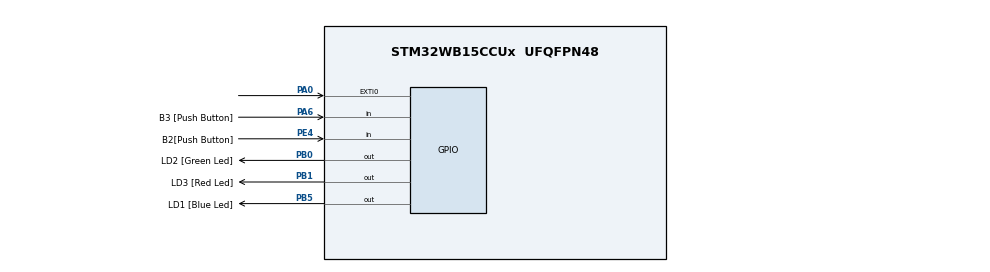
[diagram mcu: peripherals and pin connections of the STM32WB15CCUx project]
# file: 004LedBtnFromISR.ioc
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Mcu.Family=STM32WB
Mcu.Name=STM32WB15CCUx
Mcu.Package=UFQFPN48
NVIC.EXTI0_IRQn=true\:6\:0\:true\:false\:true\:true\:true\:true
NVIC.PriorityGroup=NVIC_PRIORITYGROUP_4
NVIC.TIM1_UP_IRQn=true\:15\:0\:false\:false\:true\:false\:true\:true
NVIC.TimeBase=TIM1_UP_IRQn
NVIC.TimeBaseIP=TIM1
OSC_IN.Mode=HSE-External-Oscillator
OSC_IN.Signal=RCC_OSC_IN
OSC_OUT.Mode=HSE-External-Oscillator
OSC_OUT.Signal=RCC_OSC_OUT
PA0.GPIO_ModeDefaultEXTI=GPIO_MODE_IT_FALLING
PA0.GPIO_PuPd=GPIO_PULLUP
PA0.Signal=GPXTI0
PA10.GPIO_Label=STLINK_TX
PA10.Signal=USART1_RX
PA13.GPIO_Label=JTMS
PA13.Signal=SYS_JTMS-SWDIO
PA14.GPIO_Label=JTCK
PA14.Signal=SYS_JTCK-SWCLK
PA6.GPIO_Label=B3 [Push Button]
PA6.Signal=GPIO_Input
PA9.GPIO_Label=STLINK_RX
PA9.Signal=USART1_TX
PB0.GPIO_Label=LD2 [Green Led]
PB0.Signal=GPIO_Output
PB1.GPIO_Label=LD3 [Red Led]
PB1.Signal=GPIO_Output
PB3.GPIO_Label=JTDO
PB3.Signal=SYS_JTDO-SWO
PB5.GPIO_Label=LD1 [Blue Led]
PB5.Signal=GPIO_Output
PC14-OSC32_IN.Mode=LSE-External-Oscillator
PC14-OSC32_IN.Signal=RCC_OSC32_IN
PC15-OSC32_OUT.Mode=LSE-External-Oscillator
PC15-OSC32_OUT.Signal=RCC_OSC32_OUT
PE4.GPIO_Label=B2[Push Button]
PE4.GPIO_PuPd=GPIO_PULLUP
PE4.Signal=GPIO_Input
ProjectManager.HeapSize=0x200
ProjectManager.StackSize=0x400
ProjectManager.TargetToolchain=STM32CubeIDE
RCC.APB3Freq_Value=16000000
RCC.HSE_VALUE=32000000
RCC.HSI_VALUE=16000000
RCC.LSE_Drive_Capability=RCC_LSEDRIVE_LOW
RCC.VCOOutputFreq_Value=32000000
VP_SYS_VS_tim1.Mode=TIM1
board=NUCLEO-WB15CC

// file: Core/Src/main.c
/* USER CODE BEGIN Header */
/**
  ******************************************************************************
  * @file           : main.c
  * @brief          : Main program body
  ******************************************************************************
  * @attention
  *
  * Copyright (c) 2023 STMicroelectronics.
  * All rights reserved.
  *
  * This software is licensed under terms that can be found in the LICENSE file
  * in the root directory of this software component.
  * If no LICENSE file comes with this software, it is provided AS-IS.
  *
  ******************************************************************************
  */
/* USER CODE END Header */
#include "main.h"

/* USER CODE BEGIN Includes */
#include "FreeRTOS.h"
#include "task.h"
#include <stdio.h>

/* USER CODE END Includes */

/* USER CODE BEGIN PD */
#define DWT_CTRL (*(volatile uint32_t*)0xE0001000)
/* USER CODE END PD */

/* USER CODE BEGIN PV */

	TaskHandle_t gLedHandle;
	TaskHandle_t bLedHandle;
	TaskHandle_t rLedHandle;

	TaskHandle_t volatile nextTaskHandle = NULL;
/* USER CODE END PV */

void SystemClock_Config(void);
void PeriphCommonClock_Config(void);
static void MX_GPIO_Init(void);
/* USER CODE BEGIN PFP */

static void GreenLedHandler(void* param);
static void BlueLedHandler(void* param);
static void RedLedHandler(void* param);
/* USER CODE END PFP */

int main(void)
{

  /* MCU Configuration--------------------------------------------------------*/

  /* Reset of all peripherals, Initializes the Flash interface and the Systick. */
  HAL_Init();

  /* Configure the system clock */
  SystemClock_Config();

/* Configure the peripherals common clocks */
  PeriphCommonClock_Config();

  /* Initialize all configured peripherals */
  MX_GPIO_Init();
  /* USER CODE BEGIN 2 */

  // Enable the CYCCNT counter for Arm Cortex M3/M4 processor register

  DWT_CTRL |= (1 << 0);

  // Call Segger APIs to start tracing
 // SEGGER_SYSVIEW_Conf();
 // SEGGER_SYSVIEW_Start();

  BaseType_t status;

  status = xTaskCreate(GreenLedHandler,
		  "Green Led Handler",
		  200,
		  NULL,
		  1,
		  &gLedHandle);

  configASSERT(status == pdPASS);

  status = xTaskCreate(BlueLedHandler,
		  "Blue Led Handler",
		  200,
		  NULL,
		  2,
		  &bLedHandle);

  configASSERT(status == pdPASS);

  nextTaskHandle = bLedHandle;

  status = xTaskCreate(RedLedHandler,
		  "Red Led Handler",
		  200,
		  NULL,
		  3,
		  &rLedHandle);

  configASSERT(status == pdPASS);

  // Start the freeRTOS scheduler
  vTaskStartScheduler();

  // If the control comes here then the launch of the scheduler has failed
  // Due to insufficient memory on the heap.
  // -- END --
  /* USER CODE END 2 */

  /* Infinite loop */
  while (1)
  {

  }
}

void SystemClock_Config(void)
{
  RCC_OscInitTypeDef RCC_OscInitStruct = {0};
  RCC_ClkInitTypeDef RCC_ClkInitStruct = {0};

  /** Configure LSE Drive Capability
  */
  HAL_PWR_EnableBkUpAccess();
  __HAL_RCC_LSEDRIVE_CONFIG(RCC_LSEDRIVE_LOW);

  /** Initializes the RCC Oscillators according to the specified parameters
  * in the RCC_OscInitTypeDef structure.
  */
  RCC_OscInitStruct.OscillatorType = RCC_OSCILLATORTYPE_HSI|RCC_OSCILLATORTYPE_HSE
                              |RCC_OSCILLATORTYPE_LSE|RCC_OSCILLATORTYPE_MSI;
  RCC_OscInitStruct.HSEState = RCC_HSE_ON;
  RCC_OscInitStruct.LSEState = RCC_LSE_ON;
  RCC_OscInitStruct.HSIState = RCC_HSI_ON;
  RCC_OscInitStruct.MSIState = RCC_MSI_ON;
  RCC_OscInitStruct.HSICalibrationValue = RCC_HSICALIBRATION_DEFAULT;
  RCC_OscInitStruct.MSICalibrationValue = RCC_MSICALIBRATION_DEFAULT;
  RCC_OscInitStruct.MSIClockRange = RCC_MSIRANGE_6;
  RCC_OscInitStruct.PLL.PLLState = RCC_PLL_NONE;
  if (HAL_RCC_OscConfig(&RCC_OscInitStruct) != HAL_OK)
  {
    Error_Handler();
  }

  /** Configure the SYSCLKSource, HCLK, PCLK1 and PCLK2 clocks dividers
  */
  RCC_ClkInitStruct.ClockType = RCC_CLOCKTYPE_HCLK4|RCC_CLOCKTYPE_HCLK2
                              |RCC_CLOCKTYPE_HCLK|RCC_CLOCKTYPE_SYSCLK
                              |RCC_CLOCKTYPE_PCLK1|RCC_CLOCKTYPE_PCLK2;
  RCC_ClkInitStruct.SYSCLKSource = RCC_SYSCLKSOURCE_MSI;
  RCC_ClkInitStruct.AHBCLKDivider = RCC_SYSCLK_DIV1;
  RCC_ClkInitStruct.APB1CLKDivider = RCC_HCLK_DIV1;
  RCC_ClkInitStruct.APB2CLKDivider = RCC_HCLK_DIV1;
  RCC_ClkInitStruct.AHBCLK2Divider = RCC_SYSCLK_DIV1;
  RCC_ClkInitStruct.AHBCLK4Divider = RCC_SYSCLK_DIV1;

  if (HAL_RCC_ClockConfig(&RCC_ClkInitStruct, FLASH_LATENCY_0) != HAL_OK)
  {
    Error_Handler();
  }

  /** Enable MSI Auto calibration
  */
  HAL_RCCEx_EnableMSIPLLMode();
}

void PeriphCommonClock_Config(void)
{
  RCC_PeriphCLKInitTypeDef PeriphClkInitStruct = {0};

  /** Initializes the peripherals clock
  */
  PeriphClkInitStruct.PeriphClockSelection = RCC_PERIPHCLK_SMPS;
  PeriphClkInitStruct.SmpsClockSelection = RCC_SMPSCLKSOURCE_HSI;
  PeriphClkInitStruct.SmpsDivSelection = RCC_SMPSCLKDIV_RANGE1;

  if (HAL_RCCEx_PeriphCLKConfig(&PeriphClkInitStruct) != HAL_OK)
  {
    Error_Handler();
  }
}

static void MX_GPIO_Init(void)
{
  GPIO_InitTypeDef GPIO_InitStruct = {0};

  /* GPIO Ports Clock Enable */
  __HAL_RCC_GPIOC_CLK_ENABLE();
  __HAL_RCC_GPIOA_CLK_ENABLE();
  __HAL_RCC_GPIOB_CLK_ENABLE();
  __HAL_RCC_GPIOE_CLK_ENABLE();

  /*Configure GPIO pin Output Level */
  HAL_GPIO_WritePin(GPIOB, LD2_Pin|LD3_Pin|LD1_Pin, GPIO_PIN_RESET);

  /*Configure GPIO pin : PA0 */
  GPIO_InitStruct.Pin = GPIO_PIN_0;
  GPIO_InitStruct.Mode = GPIO_MODE_IT_FALLING;
  GPIO_InitStruct.Pull = GPIO_PULLUP;
  HAL_GPIO_Init(GPIOA, &GPIO_InitStruct);

  /*Configure GPIO pin : B3_Pin */
  GPIO_InitStruct.Pin = B3_Pin;
  GPIO_InitStruct.Mode = GPIO_MODE_INPUT;
  GPIO_InitStruct.Pull = GPIO_NOPULL;
  HAL_GPIO_Init(B3_GPIO_Port, &GPIO_InitStruct);

  /*Configure GPIO pins : STLINK_RX_Pin STLINK_TX_Pin */
  GPIO_InitStruct.Pin = STLINK_RX_Pin|STLINK_TX_Pin;
  GPIO_InitStruct.Mode = GPIO_MODE_AF_PP;
  GPIO_InitStruct.Pull = GPIO_NOPULL;
  GPIO_InitStruct.Speed = GPIO_SPEED_FREQ_LOW;
  GPIO_InitStruct.Alternate = GPIO_AF7_USART1;
  HAL_GPIO_Init(GPIOA, &GPIO_InitStruct);

  /*Configure GPIO pins : LD2_Pin LD3_Pin LD1_Pin */
  GPIO_InitStruct.Pin = LD2_Pin|LD3_Pin|LD1_Pin;
  GPIO_InitStruct.Mode = GPIO_MODE_OUTPUT_PP;
  GPIO_InitStruct.Pull = GPIO_NOPULL;
  GPIO_InitStruct.Speed = GPIO_SPEED_FREQ_LOW;
  HAL_GPIO_Init(GPIOB, &GPIO_InitStruct);

  /*Configure GPIO pin : B2_Pin */
  GPIO_InitStruct.Pin = B2_Pin;
  GPIO_InitStruct.Mode = GPIO_MODE_INPUT;
  GPIO_InitStruct.Pull = GPIO_PULLUP;
  HAL_GPIO_Init(B2_GPIO_Port, &GPIO_InitStruct);

  /* EXTI interrupt init*/
  HAL_NVIC_SetPriority(EXTI0_IRQn, 6, 0);
  HAL_NVIC_EnableIRQ(EXTI0_IRQn);

}

/* USER CODE BEGIN 4 */

static void BlueLedHandler(void* param)
{
	BaseType_t status;
	const TickType_t xFrequency = pdMS_TO_TICKS(1000);

	while(1)
	{
		//SEGGER_SYSVIEW_PrintfTarget("Toggling blue led");
		HAL_GPIO_TogglePin(GPIOB, BLUE_LED);
		status = xTaskNotifyWait(0,0,NULL,xFrequency);
		if(status == pdTRUE)
		{
			//vTaskSuspendAll();
			portENTER_CRITICAL();
			nextTaskHandle = gLedHandle;
			//xTaskResumeAll();
			portEXIT_CRITICAL();

			HAL_GPIO_WritePin(GPIOB, BLUE_LED, GPIO_PIN_SET);
			//vTaskDelete(NULL);
			vTaskSuspend(NULL);
		}
	}
}

static void GreenLedHandler(void* param)
{
	BaseType_t status;
	const TickType_t xFrequency = pdMS_TO_TICKS(800);
	while(1)
	{
		//SEGGER_SYSVIEW_PrintfTarget("Toggling green led");
		HAL_GPIO_TogglePin(GPIOB, GREEN_LED);
		status = xTaskNotifyWait(0,0,NULL,xFrequency);
		if(status == pdTRUE)
		{
			//vTaskSuspendAll();
			portENTER_CRITICAL();
			nextTaskHandle = rLedHandle;
			//xTaskResumeAll();
			portEXIT_CRITICAL();

			HAL_GPIO_WritePin(GPIOB, GREEN_LED, GPIO_PIN_SET);
			//vTaskDelete(NULL);
			vTaskSuspend(NULL);
		}
	}
}

static void RedLedHandler(void* param)
{
	BaseType_t status;
	const TickType_t xFrequency = pdMS_TO_TICKS(400);
	while(1)
	{
		//SEGGER_SYSVIEW_PrintfTarget("Toggling red led");
		HAL_GPIO_TogglePin(GPIOB, RED_LED);
		status = xTaskNotifyWait(0,0,NULL,xFrequency);
		if(status == pdTRUE)
		{
			//vTaskSuspendAll();
			portENTER_CRITICAL();
			nextTaskHandle = NULL;
			//xTaskResumeAll();
			portEXIT_CRITICAL();

			HAL_GPIO_WritePin(GPIOB, RED_LED, GPIO_PIN_SET);
			//vTaskDelete(btnHandle);
			//vTaskDelete(NULL);
			//vTaskSuspend(btnHandle);
			vTaskSuspend(NULL);
		}
	}
}

void ButtonInterruptHandler(void)
{
	BaseType_t pxHigherPriorityTaskWoken;

	pxHigherPriorityTaskWoken = pdFALSE;

	traceISR_ENTER();
	xTaskNotifyFromISR(nextTaskHandle,0,eNoAction,&pxHigherPriorityTaskWoken);

	/* Once the ISR exits, the below macro makes higher priority task
	 *  which got unblocked to resume on the CPU.
	 *  We manually made the scheduler run again to so that scheduler can pick
	 *  higher priority task from the ready list.  */
	portYIELD_FROM_ISR(pxHigherPriorityTaskWoken);
	traceISR_EXIT();

}

/* USER CODE END 4 */

void HAL_TIM_PeriodElapsedCallback(TIM_HandleTypeDef *htim)
{
  if (htim->Instance == TIM1) {
    HAL_IncTick();
  }
}

void Error_Handler(void)
{
  __disable_irq();
  while (1)
  {
  }
}
